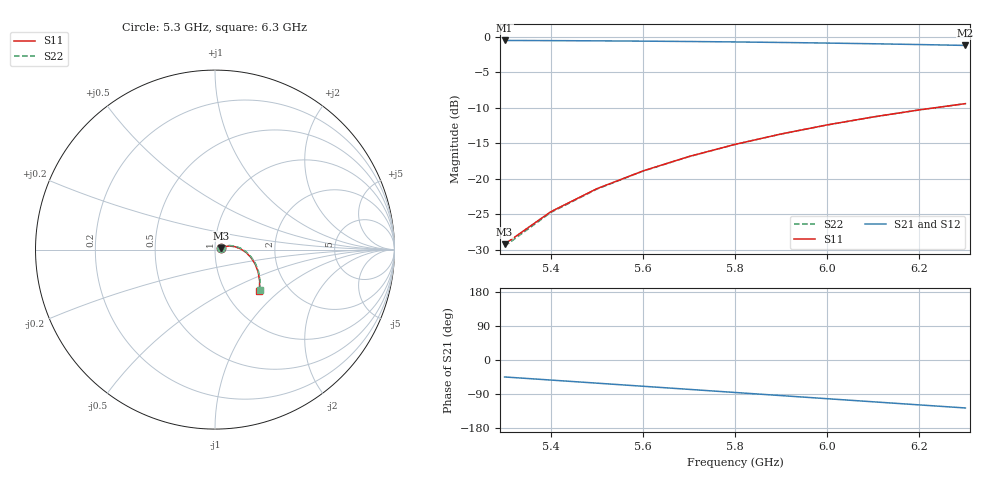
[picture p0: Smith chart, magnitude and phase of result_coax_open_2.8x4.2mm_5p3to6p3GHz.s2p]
! F01: W=2.8, L=4.2 mm; original tapers; L3 intact
! 11 direct frequencies 5.3-6.3 GHz; coax reference planes; connectors included
# Hz S RI R 50
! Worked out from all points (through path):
!   11 points, 5.3 GHz to 6.3 GHz, reference 50 ohm
!   highest |S21| = -0.56 dB at 5.3 GHz (marker M1); lowest = -1.3 dB at 6.3 GHz (marker M2)
!   group delay of S21, straight-line fit = 228 ps
!   lowest |S11| = -29.2 dB at 5.3 GHz (marker M3), VSWR 1.07, Z = 53.5 + j0.917 ohm
!   |S11| at or under -10 dB: start of sweep to 6.237 GHz
!   |S22| runs from -29.5 to -9.5 dB; largest |S21 - S12| = 1e-12
5.3e9  0.0335 0.00856  0.6662 -0.6604  0.6662 -0.6604  0.0317 0.0106
5.4e9  0.0559 0.017  0.5643 -0.7461  0.5643 -0.7461  0.0543 0.0195
5.5e9  0.0825 0.0199  0.4509 -0.8158  0.4509 -0.8158  0.0812 0.0228
5.6e9  0.112 0.0159  0.3285 -0.8677  0.3285 -0.8677  0.1111 0.0192
5.7e9  0.143 0.0041  0.2 -0.9004  0.2 -0.9004  0.1424 0.00765
5.8e9  0.1733 -0.0162  0.0687 -0.9132  0.0687 -0.9132  0.1733 -0.0124
5.9e9  0.2011 -0.0449  -0.062 -0.9059  -0.062 -0.9059  0.2017 -0.041
6e9  0.2243 -0.0818  -0.1889 -0.8791  -0.1889 -0.8791  0.2254 -0.0779
6.1e9  0.2407 -0.1258  -0.3087 -0.8337  -0.3087 -0.8337  0.2424 -0.122
6.2e9  0.2488 -0.1756  -0.4186 -0.7716  -0.4186 -0.7716  0.251 -0.172
6.3e9  0.2471 -0.2292  -0.5161 -0.695  -0.5161 -0.695  0.2498 -0.226
